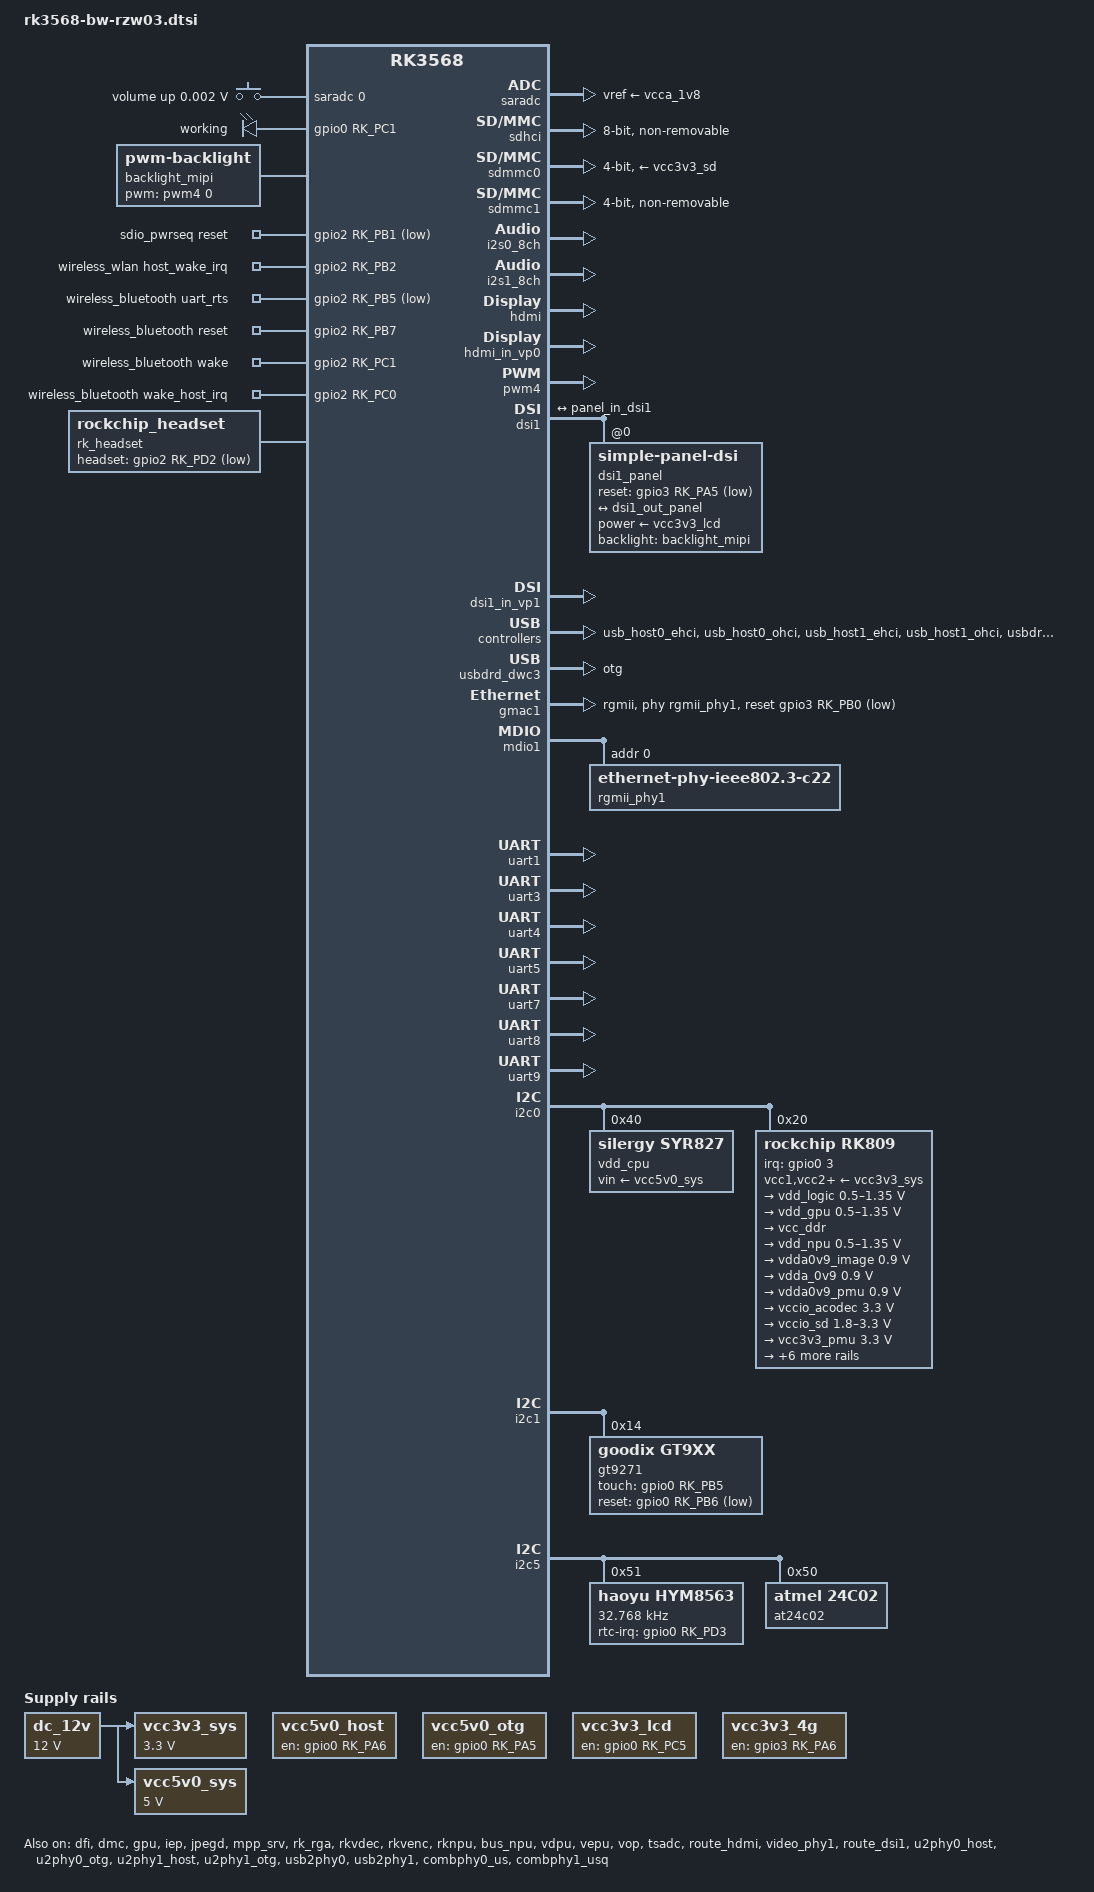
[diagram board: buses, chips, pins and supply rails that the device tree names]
// SPDX-License-Identifier: (GPL-2.0+ OR MIT)
/*
 * Copyright (c) 2020 Rockchip Electronics Co., Ltd.
 *
 */

/dts-v1/;

#include "dt-bindings/usb/pd.h"
#include <dt-bindings/gpio/gpio.h>
#include <dt-bindings/pinctrl/rockchip.h>
#include <dt-bindings/display/rockchip_vop.h>
#include <dt-bindings/pwm/pwm.h>
#include <dt-bindings/pinctrl/rockchip.h>
#include <dt-bindings/input/rk-input.h>
#include <dt-bindings/display/drm_mipi_dsi.h>
#include <dt-bindings/sensor-dev.h>
#include "rk3568.dtsi"
#include "rk3568-linux.dtsi"

/ {
    adc_keys: adc-keys {
		compatible = "adc-keys";
		io-channels = <&saradc 0>;
		io-channel-names = "buttons";
		keyup-threshold-microvolt = <1800000>;
		poll-interval = <100>;

		vol-up-key {
			label = "volume up";
			linux,code = <KEY_VOLUMEUP>;
			press-threshold-microvolt = <1750>;
		};
    };

	gpio_leds: gpio-leds {
		status = "okay";
		compatible = "gpio-leds";

		working@0 {
			gpios = <&gpio0 RK_PC1 GPIO_ACTIVE_HIGH>;
			linux,default-trigger = "heartbeat";
			label = "working";
			default-state = "on";
		};
	};

    dc_12v: dc-12v {
		compatible = "regulator-fixed";
		regulator-name = "dc_12v";
		regulator-always-on;
		regulator-boot-on;
		regulator-min-microvolt = <12000000>;
		regulator-max-microvolt = <12000000>;
	};

    vcc3v3_sys: vcc3v3-sys {
		compatible = "regulator-fixed";
		regulator-name = "vcc3v3_sys";
		regulator-always-on;
		regulator-boot-on;
		regulator-min-microvolt = <3300000>;
		regulator-max-microvolt = <3300000>;
		vin-supply = <&dc_12v>;
	};

    vcc5v0_sys: vcc5v0-sys {
		compatible = "regulator-fixed";
		regulator-name = "vcc5v0_sys";
		regulator-always-on;
		regulator-boot-on;
		regulator-min-microvolt = <5000000>;
		regulator-max-microvolt = <5000000>;
		vin-supply = <&dc_12v>;
	};

    vcc5v0_host: vcc5v0-host-regulator {
		compatible = "regulator-fixed";
		enable-active-high;
		gpio = <&gpio0 RK_PA6 GPIO_ACTIVE_HIGH>;
		pinctrl-names = "default";
		pinctrl-0 = <&vcc5v0_host_en>;
		regulator-name = "vcc5v0_host";
		regulator-boot-on;
	};

	vcc5v0_otg: vcc5v0-otg-regulator {
		compatible = "regulator-fixed";
		enable-active-high;
		gpio = <&gpio0 RK_PA5 GPIO_ACTIVE_HIGH>;
		pinctrl-names = "default";
		pinctrl-0 = <&vcc5v0_otg_en>;
		regulator-name = "vcc5v0_otg";
		regulator-boot-on;
	};

	vcc3v3_lcd: vcc3v3-lcd {
		compatible = "regulator-fixed";
		enable-active-high;
		gpio = <&gpio0 RK_PC5 GPIO_ACTIVE_HIGH>;
		pinctrl-names = "default";
		pinctrl-0 = <&vcc3v3_lcd_en>;
		regulator-name = "vcc3v3_lcd";
		regulator-boot-on;
	};

	vcc3v3_4g: vcc3v3-4g {
		compatible = "regulator-fixed";
		enable-active-high;
		gpio = <&gpio3 RK_PA6 GPIO_ACTIVE_HIGH>;
		pinctrl-names = "default";
		pinctrl-0 = <&vcc3v3_4g_en>;
		regulator-name = "vcc3v3_4g";
		regulator-boot-on;
		regulator-always-on;
	};

	backlight_mipi: backlight-mipi {
		compatible = "pwm-backlight";
		pwms = <&pwm4 0 25000 0>;
		brightness-levels = <
			  0  20  20  21  21  22  22  23
			 23  24  24  25  25  26  26  27
			 27  28  28  29  29  30  30  31
			 31  32  32  33  33  34  34  35
			 35  36  36  37  37  38  38  39
			 40  41  42  43  44  45  46  47
			 48  49  50  51  52  53  54  55
			 56  57  58  59  60  61  62  63
			 64  65  66  67  68  69  70  71
			 72  73  74  75  76  77  78  79
			 80  81  82  83  84  85  86  87
			 88  89  90  91  92  93  94  95
			 96  97  98  99 100 101 102 103
			104 105 106 107 108 109 110 111
			112 113 114 115 116 117 118 119
			120 121 122 123 124 125 126 127
			128 129 130 131 132 133 134 135
			136 137 138 139 140 141 142 143
			144 145 146 147 148 149 150 151
			152 153 154 155 156 157 158 159
			160 161 162 163 164 165 166 167
			168 169 170 171 172 173 174 175
			176 177 178 179 180 181 182 183
			184 185 186 187 188 189 190 191
			192 193 194 195 196 197 198 199
			200 201 202 203 204 205 206 207
			208 209 210 211 212 213 214 215
			216 217 218 219 220 221 222 223
			224 225 226 227 228 229 230 231
			232 233 234 235 236 237 238 239
			240 241 242 243 244 245 246 247
			248 249 250 251 252 253 254 255
		>;
		default-brightness-level = <200>;
	};

	sdio_pwrseq: sdio-pwrseq {
		compatible = "mmc-pwrseq-simple";
		clocks = <&rk809 1>;
		clock-names = "ext_clock";
		pinctrl-names = "default";
		pinctrl-0 = <&wifi_enable_h>;

		/*
		 * On the module itself this is one of these (depending
		 * on the actual card populated):
		 * - SDIO_RESET_L_WL_REG_ON
		 * - PDN (power down when low)
		 */
		post-power-on-delay-ms = <200>;
		reset-gpios = <&gpio2 RK_PB1 GPIO_ACTIVE_LOW>;
	};

	wireless_wlan: wireless-wlan {
		compatible = "wlan-platdata";
		rockchip,grf = <&grf>;
		wifi_chip_type = "rtl8821cs";
		pinctrl-names = "default";
		pinctrl-0 = <&wifi_host_wake_irq>;
		WIFI,host_wake_irq = <&gpio2 RK_PB2 GPIO_ACTIVE_HIGH>;
		status = "okay";
	};

	wireless_bluetooth: wireless-bluetooth {
		compatible = "bluetooth-platdata";
		clocks = <&rk809 1>;
		clock-names = "ext_clock";
		//wifi-bt-power-toggle;
		uart_rts_gpios = <&gpio2 RK_PB5 GPIO_ACTIVE_LOW>;
		pinctrl-names = "default", "rts_gpio";
		pinctrl-0 = <&uart1m0_rtsn>;
		pinctrl-1 = <&uart1_gpios>;
		BT,reset_gpio    = <&gpio2 RK_PB7 GPIO_ACTIVE_HIGH>;
		BT,wake_gpio     = <&gpio2 RK_PC1 GPIO_ACTIVE_HIGH>;
		BT,wake_host_irq = <&gpio2 RK_PC0 GPIO_ACTIVE_HIGH>;
		status = "okay";
	};

	rk_headset: rk-headset {
		status = "okay";
		compatible = "rockchip_headset";
		headset_gpio = <&gpio2 RK_PD2 GPIO_ACTIVE_LOW>;
		pinctrl-names = "default";
		pinctrl-0 = <&hp_det>;
	};

    rk809_sound: rk809-sound {
		status = "okay";
        compatible = "simple-audio-card";
        simple-audio-card,format = "i2s";
        simple-audio-card,name = "rockchip,rk809-codec";
        simple-audio-card,mclk-fs = <256>;

        simple-audio-card,cpu {
            sound-dai = <&i2s1_8ch>;
        };
        simple-audio-card,codec {
            sound-dai = <&rk809_codec>;
        };
	};

    hdmi_sound: hdmi-sound {
		status = "disabled";
		compatible = "simple-audio-card";
		simple-audio-card,format = "i2s";
		simple-audio-card,mclk-fs = <128>;
		simple-audio-card,name = "rockchip,hdmi";

		simple-audio-card,cpu {
				sound-dai = <&i2s0_8ch>;
		};
		simple-audio-card,codec {
				sound-dai = <&hdmi>;
		};
	};
};

&cpu0 {
	cpu-supply = <&vdd_cpu>;
};

&dfi {
	status = "okay";
};

&dmc {
	center-supply = <&vdd_logic>;
	status = "okay";
};

&gpu {
	mali-supply = <&vdd_gpu>;
	status = "okay";
};

&iep {
	status = "okay";
};

&iep_mmu {
	status = "okay";
};

&jpegd {
	status = "okay";
};

&jpegd_mmu {
	status = "okay";
};

&mpp_srv {
	status = "okay";
};

 /*
  * There are 10 independent IO domains in RK3566/RK3568, including PMUIO[0:2] and VCCIO[1:7].
  * 1/ PMUIO0 and PMUIO1 are fixed-level power domains which cannot be configured;
  * 2/ PMUIO2 and VCCIO1,VCCIO[3:7] domains require that their hardware power supply voltages
  *    must be consistent with the software configuration correspondingly
  *	a/ When the hardware IO level is connected to 1.8V, the software voltage configuration
  *	   should also be configured to 1.8V accordingly;
  *	b/ When the hardware IO level is connected to 3.3V, the software voltage configuration
  *	   should also be configured to 3.3V accordingly;
  * 3/ VCCIO2 voltage control selection (0xFDC20140)
  *	BIT[0]: 0x0: from GPIO_0A7 (default)
  *	BIT[0]: 0x1: from GRF
  *    Default is determined by Pin FLASH_VOL_SEL/GPIO0_A7:
  *	L:VCCIO2 must supply 3.3V
  *	H:VCCIO2 must supply 1.8V
  */
&pmu_io_domains {
	status = "okay";
    pmuio1-supply = <&vcc3v3_pmu>;
	pmuio2-supply = <&vcc3v3_pmu>;
	vccio1-supply = <&vccio_acodec>;//3.3v
	vccio3-supply = <&vccio_sd>;//3.3v
	vccio4-supply = <&vcc_1v8>;
	vccio5-supply = <&vcc_3v3>;
	vccio6-supply = <&vcc_1v8>;
	vccio7-supply = <&vcc_3v3>;
};

&rk_rga {
	status = "okay";
};

&rkvdec {
	status = "okay";
};

&rkvdec_mmu {
	status = "okay";
};

&rkvenc {
	venc-supply = <&vdd_logic>;
	status = "okay";
};

&rkvenc_mmu {
	status = "okay";
};

&rknpu {
	rknpu-supply = <&vdd_npu>;
	status = "okay";
};

&rknpu_mmu {
	status = "okay";
};

&bus_npu {
	bus-supply = <&vdd_logic>;
	pvtm-supply = <&vdd_cpu>;
	status = "okay";
};

&vdpu {
	status = "okay";
};

&vdpu_mmu {
	status = "okay";
};

&vepu {
	status = "okay";
};

&vepu_mmu {
	status = "okay";
};

&vop {
	status = "okay";
	assigned-clocks = <&cru DCLK_VOP0>, <&cru DCLK_VOP1>;
	assigned-clock-parents = <&pmucru PLL_HPLL>, <&cru PLL_VPLL>;
};

&vop_mmu {
	status = "okay";
};

&saradc {
	status = "okay";
	vref-supply = <&vcca_1v8>;
};

&tsadc {
	status = "okay";
};

/*for emmc*/
&sdhci {
	bus-width = <8>;
	no-sdio;
	no-sd;
	non-removable;
	max-frequency = <200000000>;
	full-pwr-cycle-in-suspend;
	status = "okay";
};

/*for sd*/
&sdmmc0 {
	max-frequency = <150000000>;
	no-sdio;
	no-mmc;
	bus-width = <4>;
	cap-mmc-highspeed;
	cap-sd-highspeed;
	disable-wp;
	sd-uhs-sdr104;
	vmmc-supply = <&vcc3v3_sd>;
	vqmmc-supply = <&vccio_sd>;
	pinctrl-names = "default";
	pinctrl-0 = <&sdmmc0_bus4 &sdmmc0_clk &sdmmc0_cmd &sdmmc0_det>;
	status = "okay";
};

/*for wifi*/
&sdmmc1 {
	max-frequency = <150000000>;
	no-sd;
	no-mmc;
	bus-width = <4>;
	disable-wp;
	cap-sd-highspeed;
	cap-sdio-irq;
	keep-power-in-suspend;
	pinctrl-names = "default";
	pinctrl-0 = <&sdmmc1_bus4 &sdmmc1_cmd &sdmmc1_clk>;
	sd-uhs-sdr104;
	mmc-pwrseq = <&sdio_pwrseq>;
	non-removable;
	status = "okay";
};

/*for i2s*/
&i2s0_8ch {
	status = "okay";
};

&i2s1_8ch {
	status = "okay";
	rockchip,clk-trcm = <1>;
	pinctrl-names = "default";
	pinctrl-0 = <&i2s1m0_sclktx
		     &i2s1m0_lrcktx
		     &i2s1m0_sdi0
		     &i2s1m0_sdo0>;
};

/*for hdmi*/
&hdmi {
	status = "okay";
	rockchip,phy-table =
		<92812500  0x8009 0x0000 0x0270>,
		<165000000 0x800b 0x0000 0x026d>,
		<185625000 0x800b 0x0000 0x01ed>,
		<297000000 0x800b 0x0000 0x01ad>,
		<594000000 0x8029 0x0000 0x0088>,
		<000000000 0x0000 0x0000 0x0000>;
};

&hdmi_in_vp0 {
	status = "okay";
};

&hdmi_in_vp1 {
	status = "disabled";
};

&hdmi_sound {
	status = "okay";
};

&route_hdmi {
    status = "okay";
    connect = <&vp0_out_hdmi>;
};

/*for mipi*/
&pwm4 {
	status = "okay";
};

&video_phy1 {
	status = "okay";	
};

&dsi1 {
	status = "okay";
	//rockchip,lane-rate = <1000>;

	dsi1_panel: panel@0 {
		status = "okay";
        compatible = "simple-panel-dsi";
        reg = <0>;
        backlight = <&backlight_mipi>;
		power-supply = <&vcc3v3_lcd>;

		//enable-gpios = <&gpio0 RK_PC5 GPIO_ACTIVE_HIGH>;
		reset-gpios = <&gpio3 RK_PA5 GPIO_ACTIVE_LOW>;

        init-delay-ms = <120>;
		reset-delay-ms = <120>;
		enable-delay-ms = <120>;
		prepare-delay-ms = <120>;
		unprepare-delay-ms = <60>;
		disable-delay-ms = <60>;

        dsi,flags = <(MIPI_DSI_MODE_VIDEO | MIPI_DSI_MODE_VIDEO_BURST |
                        MIPI_DSI_MODE_LPM | MIPI_DSI_MODE_NO_EOT_PACKET)>;
        dsi,format = <MIPI_DSI_FMT_RGB888>;
        dsi,lanes  = <4>;

		panel-init-sequence = [
			15 00 04 ff 98 81 03 
			15 00 02 01 00 
			15 00 02 02 00 
			15 00 02 03 53 
			15 00 02 04 d3 
			15 00 02 05 00 
			15 00 02 06 0d 
			15 00 02 07 08 
			15 00 02 08 00 
			15 00 02 09 00 
			15 00 02 0a 00 
			15 00 02 0b 00 
			15 00 02 0c 00 
			15 00 02 0d 00 
			15 00 02 0e 00 
			15 00 02 0f 28 
			15 00 02 10 28 
			15 00 02 11 00 
			15 00 02 12 00 
			15 00 02 13 00 
			15 00 02 14 00 
			15 00 02 15 00 
			15 00 02 16 00 
			15 00 02 17 00 
			15 00 02 18 00 
			15 00 02 19 00 
			15 00 02 1a 00 
			15 00 02 1b 00 
			15 00 02 1c 00 
			15 00 02 1d 00 
			15 00 02 1e 40 
			15 00 02 1f 80 
			15 00 02 20 06 
			15 00 02 21 01 
			15 00 02 22 06 
			15 00 02 23 01 
			15 00 02 24 00 
			15 00 02 25 00 
			15 00 02 26 00 
			15 00 02 27 00 
			15 00 02 28 33 
			15 00 02 29 33 
			15 00 02 2a 00 
			15 00 02 2b 00 
			15 00 02 2c 00 
			15 00 02 2d 00 
			15 00 02 2e 00 
			15 00 02 2f 00 
			15 00 02 30 00 
			15 00 02 31 00 
			15 00 02 32 00 
			15 00 02 33 00 
			15 00 02 34 03 
			15 00 02 35 00 
			15 00 02 36 00 
			15 00 02 37 00 
			15 00 02 38 96 
			15 00 02 15 00 
			15 00 02 3a 00 
			15 00 02 3b 00 
			15 00 02 3c 00 
			15 00 02 3d 00 
			15 00 02 3e 00 
			15 00 02 3f 00 
			15 00 02 40 00 
			15 00 02 41 00 
			15 00 02 42 00 
			15 00 02 43 00 
			15 00 02 44 00 
			15 00 02 50 00 
			15 00 02 51 23 
			15 00 02 52 45 
			15 00 02 53 67 
			15 00 02 54 89 
			15 00 02 55 ab 
			15 00 02 56 01 
			15 00 02 57 23 
			15 00 02 58 45 
			15 00 02 59 67 
			15 00 02 5a 89 
			15 00 02 5b ab 
			15 00 02 5c cd 
			15 00 02 5d ef 
			15 00 02 5e 00 
			15 00 02 5f 08 
			15 00 02 60 08 
			15 00 02 61 06 
			15 00 02 62 06 
			15 00 02 63 01 
			15 00 02 64 01 
			15 00 02 65 00 
			15 00 02 66 00 
			15 00 02 67 02 
			15 00 02 68 15 
			15 00 02 69 15 
			15 00 02 6a 14 
			15 00 02 6b 14 
			15 00 02 6c 0d 
			15 00 02 6d 0d 
			15 00 02 6e 0c 
			15 00 02 6f 0c 
			15 00 02 70 0f 
			15 00 02 71 0f 
			15 00 02 72 0e 
			15 00 02 73 0e 
			15 00 02 74 02 
			15 00 02 75 08 
			15 00 02 76 08 
			15 00 02 77 06 
			15 00 02 78 06 
			15 00 02 79 01 
			15 00 02 7a 01 
			15 00 02 7b 00 
			15 00 02 7c 00 
			15 00 02 7d 02 
			15 00 02 7e 15 
			15 00 02 7f 15 
			15 00 02 80 14 
			15 00 02 81 14 
			15 00 02 82 0d 
			15 00 02 83 0d 
			15 00 02 84 0c 
			15 00 02 85 0c 
			15 00 02 86 0f 
			15 00 02 87 0f 
			15 00 02 88 0e 
			15 00 02 89 0e 
			15 00 02 8a 02 
			15 00 04 ff 98 81 04 
			15 00 02 6e 2b 
			15 00 02 6f 37 
			15 00 02 3a 24 
			15 00 02 8d 1a 
			15 00 02 87 ba 
			15 00 02 b2 d1 
			15 00 02 88 0b 
			15 00 02 38 01 
			15 00 02 15 00 
			15 00 02 b5 02 
			15 00 02 31 25 
			15 00 02 3b 98 
			15 00 04 ff 98 81 01 
			15 00 02 22 0a 
			15 00 02 31 00 
			15 00 02 53 5a 
			15 00 02 55 3d 
			15 00 02 50 85 
			15 00 02 51 80 
			15 00 02 60 06 
			15 00 02 62 20 
			15 00 02 a0 00 
			15 00 02 a1 13 
			15 00 02 a2 20 
			15 00 02 a3 11 
			15 00 02 a4 16 
			15 00 02 a5 28 
			15 00 02 a6 1c 
			15 00 02 a7 1f 
			15 00 02 a8 84 
			15 00 02 a9 1e 
			15 00 02 aa 29 
			15 00 02 ab 74 
			15 00 02 ac 1a 
			15 00 02 ad 19 
			15 00 02 ae 4b 
			15 00 02 af 22 
			15 00 02 b0 29 
			15 00 02 b1 4b 
			15 00 02 b2 58 
			15 00 02 b3 23 
			15 00 02 c0 00 
			15 00 02 c1 12 
			15 00 02 c2 21 
			15 00 02 c3 12 
			15 00 02 c4 16 
			15 00 02 c5 29 
			15 00 02 c6 1d 
			15 00 02 c7 1f 
			15 00 02 c8 85 
			15 00 02 c9 1d 
			15 00 02 ca 29 
			15 00 02 cb 74 
			15 00 02 cc 1a 
			15 00 02 cd 19 
			15 00 02 ce 4c 
			15 00 02 cf 22 
			15 00 02 d0 29 
			15 00 02 d1 4b 
			15 00 02 d2 58 
			15 00 02 d3 23 
			15 00 04 ff 98 81 00 
			05 78 01 11 
			05 00 01 29 
			05 00 01 35
		];

		panel-exit-sequence = [
			05 00 01 28
			05 00 01 10
		];

		disp_timings1: display-timings {
			native-mode = <&dsi1_timing0>;
			dsi1_timing0: timing0 {
				clock-frequency = <68000000>;//<80000000>;
                hactive = <800>;//<768>;
                vactive = <1280>;
                hsync-len = <18>;   //20, 50,10
                hback-porch = <18>; //50, 56,10
                hfront-porch = <18>;//50, 30,180
                vsync-len = <4>;//4
                vback-porch = <8>;//4
                vfront-porch = <20>;//8
                hsync-active = <0>;
                vsync-active = <0>;
                de-active = <0>;
                pixelclk-active = <0>;
			};
		};

		ports {
			#address-cells = <1>;
			#size-cells = <0>;

			port@0 {
				reg = <0>;
				panel_in_dsi1: endpoint {
					remote-endpoint = <&dsi1_out_panel>;
				};
			};
		};
	};

	ports {
		#address-cells = <1>;
		#size-cells = <0>;

		port@1 {
			reg = <1>;
			dsi1_out_panel: endpoint {
				remote-endpoint = <&panel_in_dsi1>;
			};
		};
	};

};

&dsi1_in_vp0 {
	status = "disabled";
};

&dsi1_in_vp1 {
	status = "okay";
};

&route_dsi1 {
	status = "okay";
	connect = <&vp1_out_dsi1>;
};

/*for usb*/
&u2phy0_host {
	phy-supply = <&vcc5v0_host>;
	status = "okay";
};

&u2phy0_otg {
	vbus-supply = <&vcc5v0_otg>;
	status = "okay";
};

&u2phy1_host {
	phy-supply = <&vcc5v0_host>;
	status = "okay";
};

&u2phy1_otg {
	phy-supply = <&vcc5v0_host>;
	status = "okay";
};

&usb2phy0 {
	status = "okay";
};

&usb2phy1 {
	status = "okay";
};

&usb_host0_ehci {
	status = "okay";
};

&usb_host0_ohci {
	status = "okay";
};

&usb_host1_ehci {
	status = "okay";
};

&usb_host1_ohci {
	status = "okay";
};

&usbdrd_dwc3 {
	dr_mode = "otg";
	extcon = <&usb2phy0>;
	status = "okay";
};

&usbdrd30 {
	status = "okay";
};

&combphy0_us {
	status = "okay";
};

&usbhost_dwc3 {
	status = "okay";
};

&usbhost30 {
	status = "okay";
};

&combphy1_usq {
	status = "okay";
};

/*for ethernet*/
&gmac1 {
	phy-mode = "rgmii";
	clock_in_out = "input";

	snps,reset-gpio = <&gpio3 RK_PB0 GPIO_ACTIVE_LOW>;
	snps,reset-active-low;
	/* Reset time is 20ms, 100ms for rtl8211f */
	snps,reset-delays-us = <0 20000 100000>;

	assigned-clocks = <&cru SCLK_GMAC1_RX_TX>, <&cru SCLK_GMAC1>;
	assigned-clock-parents = <&cru SCLK_GMAC1_RGMII_SPEED>, <&gmac1_clkin>;

	pinctrl-names = "default";
	pinctrl-0 = <&gmac1m1_miim
		     &gmac1m1_tx_bus2
		     &gmac1m1_rx_bus2
		     &gmac1m1_rgmii_clk
		     &gmac1m1_rgmii_bus
		     &gmac1m1_clkinout>;

	tx_delay = <0x4f>;
	rx_delay = <0x26>;

	phy-handle = <&rgmii_phy1>;
	status = "okay";
};

&mdio1 {
	rgmii_phy1: phy@0 {
		compatible = "ethernet-phy-ieee802.3-c22";
		reg = <0x0>;
	};
};

/*for uart/rs485*/
&uart1 {
	status = "okay";
};

&uart3 {
    status = "okay";
};

&uart4 {
    status = "okay";
    pinctrl-names = "default";
	pinctrl-0 = <&uart4m1_xfer>;
};

&uart5 {
    status = "okay";
    pinctrl-names = "default";
	pinctrl-0 = <&uart5m1_xfer>;
};

&uart7 {
    status = "okay";
    pinctrl-names = "default";
	pinctrl-0 = <&uart7m1_xfer>;
};

&uart8 {
    status = "okay";
    pinctrl-names = "default";
	pinctrl-0 = <&uart8m1_xfer>;
};

&uart9 {
    status = "okay";
    pinctrl-names = "default";
	pinctrl-0 = <&uart9m1_xfer>;
};

/*for i2c*/
&i2c0 {
	status = "okay";

	vdd_cpu: syr827@40 {
		compatible = "silergy,syr827";
		reg = <0x40>;
		vin-supply = <&vcc5v0_sys>;
		regulator-compatible = "fan53555-reg";
		regulator-name = "vdd_cpu";
		regulator-min-microvolt = <712500>;
		regulator-max-microvolt = <1500000>;
		regulator-init-microvolt = <900000>;
		regulator-ramp-delay = <2300>;
		fcs,suspend-voltage-selector = <1>;
		regulator-boot-on;
		regulator-always-on;
		regulator-state-mem {
			regulator-off-in-suspend;
		};
	};

	rk809: pmic@20 {
		compatible = "rockchip,rk809";
		reg = <0x20>;
		interrupt-parent = <&gpio0>;
		interrupts = <3 IRQ_TYPE_LEVEL_LOW>;

		pinctrl-names = "default", "pmic-sleep",
				"pmic-power-off", "pmic-reset";
		pinctrl-0 = <&pmic_int>;
		pinctrl-1 = <&soc_slppin_slp>, <&rk817_slppin_slp>;
		pinctrl-2 = <&soc_slppin_gpio>, <&rk817_slppin_pwrdn>;
		pinctrl-3 = <&soc_slppin_gpio>, <&rk817_slppin_rst>;

		rockchip,system-power-controller;
		wakeup-source;
		#clock-cells = <1>;
		clock-output-names = "rk808-clkout1", "rk808-clkout2";
		//fb-inner-reg-idxs = <2>;
		/* 1: rst regs (default in codes), 0: rst the pmic */
		pmic-reset-func = <0>;
		/* not save the PMIC_POWER_EN register in uboot */
		not-save-power-en = <1>;

		vcc1-supply = <&vcc3v3_sys>;
		vcc2-supply = <&vcc3v3_sys>;
		vcc3-supply = <&vcc3v3_sys>;
		vcc4-supply = <&vcc3v3_sys>;
		vcc5-supply = <&vcc3v3_sys>;
		vcc6-supply = <&vcc3v3_sys>;
		vcc7-supply = <&vcc3v3_sys>;
		vcc8-supply = <&vcc3v3_sys>;
		vcc9-supply = <&vcc3v3_sys>;

		pwrkey {
			status = "okay";
		};

		pinctrl_rk8xx: pinctrl_rk8xx {
			gpio-controller;
			#gpio-cells = <2>;

			rk817_slppin_null: rk817_slppin_null {
				pins = "gpio_slp";
				function = "pin_fun0";
			};

			rk817_slppin_slp: rk817_slppin_slp {
				pins = "gpio_slp";
				function = "pin_fun1";
			};

			rk817_slppin_pwrdn: rk817_slppin_pwrdn {
				pins = "gpio_slp";
				function = "pin_fun2";
			};

			rk817_slppin_rst: rk817_slppin_rst {
				pins = "gpio_slp";
				function = "pin_fun3";
			};
		};

		regulators {
			vdd_logic: DCDC_REG1 {
				regulator-always-on;
				regulator-boot-on;
				regulator-min-microvolt = <500000>;
				regulator-max-microvolt = <1350000>;
				regulator-init-microvolt = <900000>;
				regulator-ramp-delay = <6001>;
				regulator-initial-mode = <0x2>;
				regulator-name = "vdd_logic";
				regulator-state-mem {
					regulator-off-in-suspend;
				};
			};

			vdd_gpu: DCDC_REG2 {
				regulator-always-on;
				regulator-boot-on;
				regulator-min-microvolt = <500000>;
				regulator-max-microvolt = <1350000>;
				regulator-init-microvolt = <900000>;
				regulator-ramp-delay = <6001>;
				regulator-initial-mode = <0x2>;
				regulator-name = "vdd_gpu";
				regulator-state-mem {
					regulator-off-in-suspend;
				};
			};

			vcc_ddr: DCDC_REG3 {
				regulator-always-on;
				regulator-boot-on;
				regulator-initial-mode = <0x2>;
				regulator-name = "vcc_ddr";
				regulator-state-mem {
					regulator-on-in-suspend;
				};
			};

			vdd_npu: DCDC_REG4 {
				regulator-always-on;
				regulator-boot-on;
				regulator-min-microvolt = <500000>;
				regulator-max-microvolt = <1350000>;
				regulator-init-microvolt = <900000>;
				regulator-ramp-delay = <6001>;
				regulator-initial-mode = <0x2>;
				regulator-name = "vdd_npu";
				regulator-state-mem {
					regulator-off-in-suspend;
				};
			};

			vdda0v9_image: LDO_REG1 {
				regulator-boot-on;
				regulator-always-on;
				regulator-min-microvolt = <900000>;
				regulator-max-microvolt = <900000>;
				regulator-name = "vdda0v9_image";
				regulator-state-mem {
					regulator-off-in-suspend;
				};
			};

			vdda_0v9: LDO_REG2 {
				regulator-always-on;
				regulator-boot-on;
				regulator-min-microvolt = <900000>;
				regulator-max-microvolt = <900000>;
				regulator-name = "vdda_0v9";
				regulator-state-mem {
					regulator-off-in-suspend;
				};
			};

			vdda0v9_pmu: LDO_REG3 {
				regulator-always-on;
				regulator-boot-on;
				regulator-min-microvolt = <900000>;
				regulator-max-microvolt = <900000>;
				regulator-name = "vdda0v9_pmu";
				regulator-state-mem {
					regulator-on-in-suspend;
					regulator-suspend-microvolt = <900000>;
				};
			};

			vccio_acodec: LDO_REG4 {
				regulator-always-on;
				regulator-boot-on;
				regulator-min-microvolt = <3300000>;
				regulator-max-microvolt = <3300000>;
				regulator-name = "vccio_acodec";
				regulator-state-mem {
					regulator-off-in-suspend;
				};
			};

			vccio_sd: LDO_REG5 {
				regulator-always-on;
				regulator-boot-on;
				regulator-min-microvolt = <1800000>;
				regulator-max-microvolt = <3300000>;
				regulator-name = "vccio_sd";
				regulator-state-mem {
					regulator-off-in-suspend;
				};
			};

			vcc3v3_pmu: LDO_REG6 {
				regulator-always-on;
				regulator-boot-on;
				regulator-min-microvolt = <3300000>;
				regulator-max-microvolt = <3300000>;
				regulator-name = "vcc3v3_pmu";
				regulator-state-mem {
					regulator-on-in-suspend;
					regulator-suspend-microvolt = <3300000>;
				};
			};

			vcca_1v8: LDO_REG7 {
				regulator-always-on;
				regulator-boot-on;
				regulator-min-microvolt = <1800000>;
				regulator-max-microvolt = <1800000>;
				regulator-name = "vcca_1v8";
				regulator-state-mem {
					regulator-off-in-suspend;
				};
			};

			vcca1v8_pmu: LDO_REG8 {
				regulator-always-on;
				regulator-boot-on;
				regulator-min-microvolt = <1800000>;
				regulator-max-microvolt = <1800000>;
				regulator-name = "vcca1v8_pmu";
				regulator-state-mem {
					regulator-on-in-suspend;
					regulator-suspend-microvolt = <1800000>;
				};
			};

			vcca1v8_image: LDO_REG9 {
				regulator-always-on;
				regulator-boot-on;
				regulator-min-microvolt = <1800000>;
				regulator-max-microvolt = <1800000>;
				regulator-name = "vcca1v8_image";
				regulator-state-mem {
					regulator-off-in-suspend;
				};
			};

			vcc_1v8: DCDC_REG5 {
				regulator-always-on;
				regulator-boot-on;
				regulator-min-microvolt = <1800000>;
				regulator-max-microvolt = <1800000>;
				regulator-name = "vcc_1v8";
				regulator-state-mem {
					regulator-off-in-suspend;
				};
			};

			vcc_3v3: SWITCH_REG1 {
				regulator-always-on;
				regulator-boot-on;
				regulator-name = "vcc_3v3";
				regulator-state-mem {
					regulator-off-in-suspend;
				};
			};

			vcc3v3_sd: SWITCH_REG2 {
				regulator-always-on;
				regulator-boot-on;
				regulator-name = "vcc3v3_sd";
				regulator-state-mem {
					regulator-off-in-suspend;
				};
			};
		};

		rk809_codec: codec {
			#sound-dai-cells = <0>;
			compatible = "rockchip,rk809-codec", "rockchip,rk817-codec";
			clocks = <&cru I2S1_MCLKOUT>;
			clock-names = "mclk";
			assigned-clocks = <&cru I2S1_MCLKOUT>, <&cru I2S1_MCLK_TX_IOE>;
			assigned-clock-rates = <12288000>;
			assigned-clock-parents = <&cru I2S1_MCLKOUT_TX>, <&cru I2S1_MCLKOUT_TX>;
			pinctrl-names = "default";
			pinctrl-0 = <&i2s1m0_mclk>;
			hp-volume = <20>;
			spk-volume = <3>;
			mic-in-differential;
			status = "okay";
		};
	};
};

&i2c1 {
	status = "okay";

	gt9271: goodix-ts@14 {
		compatible = "goodix,gt9xx";
		reg = <0x14>;
		touch-gpio = <&gpio0 RK_PB5 IRQ_TYPE_LEVEL_HIGH>;
		reset-gpio = <&gpio0 RK_PB6 GPIO_ACTIVE_LOW>;
		max-x = <800>;
        max-y = <1280>;
        tp-size = <89>;
	};
};

&i2c5 {
	status = "okay";

	hym8563: hym8563@51 {
		status = "okay";
		compatible = "haoyu,hym8563";
		reg = <0x51>;
		#clock-cells = <0>;
		rtc-irq-gpio = <&gpio0 RK_PD3 IRQ_TYPE_EDGE_FALLING>;
		clock-frequency = <32768>;
		//clock-output-names = "xin32k";
		/* rtc_int is not connected */
	};

    at24c02: at24c02@50 {
        status = "okay";
        compatible = "atmel,24c02";
        reg = <0x50>;
    }; 
};

&pinctrl {
    headphone {
		hp_det: hp-det {
			rockchip,pins = <2 RK_PD2 RK_FUNC_GPIO &pcfg_pull_down>;
		};
	};

	pmic {
		pmic_int: pmic_int {
			rockchip,pins =
				<0 RK_PA3 RK_FUNC_GPIO &pcfg_pull_up>;
		};

		soc_slppin_gpio: soc_slppin_gpio {
			rockchip,pins =
				<0 RK_PA2 RK_FUNC_GPIO &pcfg_output_low_pull_down>;
		};

		soc_slppin_slp: soc_slppin_slp {
			rockchip,pins =
				<0 RK_PA2 1 &pcfg_pull_up>;
		};

		soc_slppin_rst: soc_slppin_rst {
			rockchip,pins =
				<0 RK_PA2 2 &pcfg_pull_none>;
		};
	};

    usb {
		vcc5v0_host_en: vcc5v0-host-en {
			rockchip,pins = <0 RK_PA6 RK_FUNC_GPIO &pcfg_pull_none>;
		};

		vcc5v0_otg_en: vcc5v0-otg-en {
			rockchip,pins = <0 RK_PA5 RK_FUNC_GPIO &pcfg_pull_none>;
		};
	};

	sdio-pwrseq {
		wifi_enable_h: wifi-enable-h {
			rockchip,pins = <2 RK_PB1 RK_FUNC_GPIO &pcfg_pull_none>;
		};
	};

	wireless-wlan {
		wifi_host_wake_irq: wifi-host-wake-irq {
			rockchip,pins = <2 RK_PB2 RK_FUNC_GPIO &pcfg_pull_down>;
		};
	};

	wireless-bluetooth {
		uart1_gpios: uart1-gpios {
			rockchip,pins = <2 RK_PB5 RK_FUNC_GPIO &pcfg_pull_none>;
		};

		bt_reset_gpio: bt-reset-gpio {
			rockchip,pins = <2 RK_PB7 RK_FUNC_GPIO &pcfg_pull_none>;
		};

		bt_wake_gpio: bt-wake-gpio {
			rockchip,pins = <2 RK_PC1 RK_FUNC_GPIO &pcfg_pull_none>;
		};

		bt_irq_gpio: bt-irq-gpio {
			rockchip,pins = <2 RK_PC0 RK_FUNC_GPIO &pcfg_pull_up>;
		};
	};

	lcd {
		vcc3v3_lcd_en: vcc3v3-lcd-en {
			rockchip,pins = <0 RK_PC5 RK_FUNC_GPIO &pcfg_pull_none>;
		};
	};

	4g {
		vcc3v3_4g_en: vcc3v3-4g-en {
			rockchip,pins = <3 RK_PA6 RK_FUNC_GPIO &pcfg_pull_none>;
		};
	};
};
